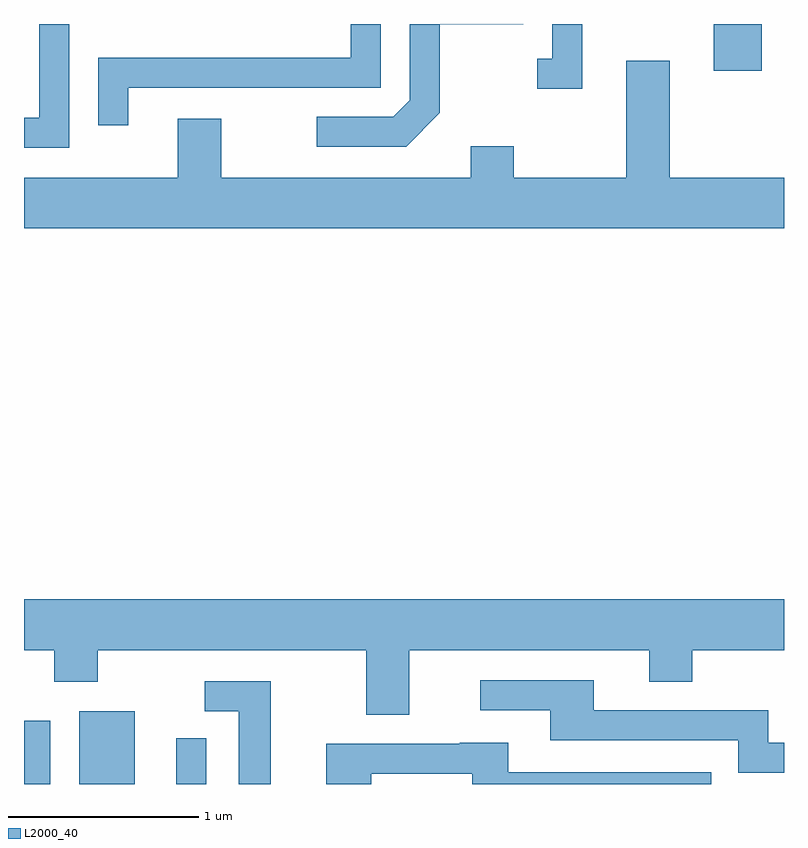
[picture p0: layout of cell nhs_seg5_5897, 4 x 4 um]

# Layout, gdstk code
import gdstk
lib = gdstk.Library(unit=1e-6, precision=1e-09)
def R(c, l, rs):  # rectangles x0, y0, x1, y1
    for r in rs: c.add(gdstk.rectangle(r[:2], r[2:], *l))
def P(c, l, *ps):  # polygons
    for p in ps: c.add(gdstk.Polygon(p, *l))
L2000_40 = (2000, 40)

nhs_seg5_5897 = lib.new_cell('nhs_seg5_5897')
R(nhs_seg5_5897, L2000_40, [(359.611,1476.072,359.749,1476.404), (359.901,1476.072,360.194,1476.454), (360.411,1476.072,360.569,1476.313), (363.241,1479.826,363.494,1480.072)])
P(nhs_seg5_5897, L2000_40, [(359.849,1480.072),(359.691,1480.072),(359.691,1479.579),(359.611,1479.579),(359.611,1479.421),(359.849,1479.421)],
  [(362.549,1480.072),(362.391,1480.072),(362.391,1479.889),(362.313,1479.889),(362.313,1479.731),(362.549,1479.731)],
  [(361.799,1479.604),(361.799,1480.071),(362.239,1480.071),(362.239,1480.072),(361.641,1480.072),(361.641,1479.672),(361.554,1479.584),(361.153,1479.584),(361.153,1479.426),(361.622,1479.426)],
  [(360.159,1479.736),(361.489,1479.736),(361.489,1480.072),(361.331,1480.072),(361.331,1479.894),(360.001,1479.894),(360.001,1479.538),(360.159,1479.538)],
  [(363.611,1479.264),(363.009,1479.264),(363.009,1479.879),(362.781,1479.879),(362.781,1479.264),(362.189,1479.264),(362.189,1479.429),(361.961,1479.429),(361.961,1479.264),(360.649,1479.264),(360.649,1479.574),(360.421,1479.574),(360.421,1479.264),(359.611,1479.264),(359.611,1478.996),(363.611,1478.996)],
  [(361.639,1476.776),(362.901,1476.776),(362.901,1476.611),(363.129,1476.611),(363.129,1476.776),(363.611,1476.776),(363.611,1477.044),(359.611,1477.044),(359.611,1476.776),(359.771,1476.776),(359.771,1476.611),(359.999,1476.611),(359.999,1476.776),(361.411,1476.776),(361.411,1476.436),(361.639,1476.436)],
  [(363.611,1476.289),(363.529,1476.289),(363.529,1476.459),(362.609,1476.459),(362.609,1476.619),(362.013,1476.619),(362.013,1476.461),(362.381,1476.461),(362.381,1476.301),(363.371,1476.301),(363.371,1476.131),(363.611,1476.131)],
  [(360.909,1476.614),(360.563,1476.614),(360.563,1476.456),(360.741,1476.456),(360.741,1476.072),(360.909,1476.072)],
  [(361.439,1476.126),(361.971,1476.126),(361.971,1476.072),(363.228,1476.072),(363.228,1476.134),(362.159,1476.134),(362.159,1476.289),(361.905,1476.289),(361.905,1476.284),(361.201,1476.284),(361.201,1476.072),(361.439,1476.072)])

lib.write_gds('nhs_seg5_5897.gds')
